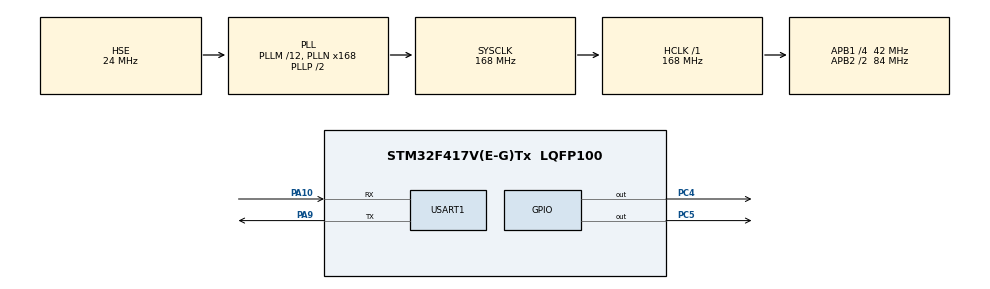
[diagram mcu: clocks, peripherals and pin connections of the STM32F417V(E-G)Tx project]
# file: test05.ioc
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FREERTOS.Tasks01=defaultTask,0,128,StartDefaultTask,Default,NULL,Dynamic,NULL,NULL;LED1Task,-3,128,StartLED1Task,As weak,NULL,Dynamic,NULL,NULL;LED2Task,-3,128,StartLED2Task,As weak,NULL,Dynamic,NULL,NULL
FREERTOS.configUSE_NEWLIB_REENTRANT=1
Mcu.Family=STM32F4
Mcu.Name=STM32F417V(E-G)Tx
Mcu.Package=LQFP100
NVIC.PriorityGroup=NVIC_PRIORITYGROUP_4
NVIC.TIM1_UP_TIM10_IRQn=true\:3\:0\:false\:false\:true\:false\:false\:true\:true
NVIC.TimeBase=TIM1_UP_TIM10_IRQn
NVIC.TimeBaseIP=TIM1
NVIC.USART1_IRQn=true\:5\:0\:true\:false\:true\:true\:true\:true\:true
PA10.GPIO_ModeDefaultPP=GPIO_MODE_AF_PP
PA10.GPIO_PuPd=GPIO_PULLUP
PA10.GPIO_Speed=GPIO_SPEED_FREQ_HIGH
PA10.Mode=Asynchronous
PA10.Signal=USART1_RX
PA13.Mode=Trace_Synchro_2bits_JTAG
PA13.Signal=SYS_JTMS-SWDIO
PA14.Mode=Trace_Synchro_2bits_JTAG
PA14.Signal=SYS_JTCK-SWCLK
PA15.Mode=Trace_Synchro_2bits_JTAG
PA15.Signal=SYS_JTDI
PA9.GPIO_ModeDefaultPP=GPIO_MODE_AF_PP
PA9.GPIO_PuPd=GPIO_PULLUP
PA9.GPIO_Speed=GPIO_SPEED_FREQ_HIGH
PA9.Mode=Asynchronous
PA9.Signal=USART1_TX
PB3.Mode=Trace_Synchro_2bits_JTAG
PB3.Signal=SYS_JTDO-SWO
PC14-OSC32_IN.Mode=LSE-External-Oscillator
PC14-OSC32_IN.Signal=RCC_OSC32_IN
PC15-OSC32_OUT.Mode=LSE-External-Oscillator
PC15-OSC32_OUT.Signal=RCC_OSC32_OUT
PC4.GPIO_ModeDefaultOutputPP=GPIO_MODE_OUTPUT_PP
PC4.GPIO_PuPd=GPIO_PULLUP
PC4.GPIO_Speed=GPIO_SPEED_FREQ_HIGH
PC4.PinState=GPIO_PIN_SET
PC4.Signal=GPIO_Output
PC5.GPIO_ModeDefaultOutputPP=GPIO_MODE_OUTPUT_PP
PC5.GPIO_PuPd=GPIO_PULLUP
PC5.GPIO_Speed=GPIO_SPEED_FREQ_HIGH
PC5.PinState=GPIO_PIN_SET
PC5.Signal=GPIO_Output
PE2.Mode=Trace_Synchro_2bits_JTAG
PE2.Signal=SYS_TRACECLK
PE3.Mode=Trace_Synchro_2bits_JTAG
PE3.Signal=SYS_TRACED0
PE4.Mode=Trace_Synchro_2bits_JTAG
PE4.Signal=SYS_TRACED1
PH0-OSC_IN.Mode=HSE-External-Oscillator
PH0-OSC_IN.Signal=RCC_OSC_IN
PH1-OSC_OUT.Mode=HSE-External-Oscillator
PH1-OSC_OUT.Signal=RCC_OSC_OUT
ProjectManager.HeapSize=0x200
ProjectManager.StackSize=0x400
ProjectManager.TargetToolchain=STM32CubeIDE
RCC.48MHZClocksFreq_Value=84000000
RCC.AHBFreq_Value=168000000
RCC.APB1CLKDivider=RCC_HCLK_DIV4
RCC.APB1Freq_Value=42000000
RCC.APB1TimFreq_Value=84000000
RCC.APB2CLKDivider=RCC_HCLK_DIV2
RCC.APB2Freq_Value=84000000
RCC.APB2TimFreq_Value=168000000
RCC.CortexFreq_Value=168000000
RCC.HCLKFreq_Value=168000000
RCC.HSE_VALUE=24000000
RCC.HSI_VALUE=16000000
RCC.PLLM=12
RCC.PLLN=168
RCC.PLLSourceVirtual=RCC_PLLSOURCE_HSE
RCC.SYSCLKFreq_VALUE=168000000
RCC.SYSCLKSource=RCC_SYSCLKSOURCE_PLLCLK
RCC.VCOOutputFreq_Value=336000000
USART1.VirtualMode=VM_ASYNC
VP_FREERTOS_VS_CMSIS_V1.Mode=CMSIS_V1
VP_SYS_VS_tim1.Mode=TIM1
board=custom

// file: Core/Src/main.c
/* USER CODE BEGIN Header */
/**
  ******************************************************************************
  * @file           : main.c
  * @brief          : Main program body
  ******************************************************************************
  * @attention
  *
  * Copyright (c) 2022 STMicroelectronics.
  * All rights reserved.
  *
  * This software is licensed under terms that can be found in the LICENSE file
  * in the root directory of this software component.
  * If no LICENSE file comes with this software, it is provided AS-IS.
  *
  ******************************************************************************
  */
/* USER CODE END Header */
#include "main.h"
#include "cmsis_os.h"

/* USER CODE BEGIN Includes */
#include "stdio.h"	//引入标准库文件
/* USER CODE END Includes */

UART_HandleTypeDef huart1;

osThreadId defaultTaskHandle;
osThreadId LED1TaskHandle;
osThreadId LED2TaskHandle;

void SystemClock_Config(void);
static void MX_GPIO_Init(void);
static void MX_USART1_UART_Init(void);
void StartDefaultTask(void const * argument);
void StartLED1Task(void const * argument);
void StartLED2Task(void const * argument);

/* USER CODE BEGIN PFP */
#ifdef __GNUC__
#define PUTCHAR_PROTOTYPE int __io_putchar(int ch)   //STM32CubeIDE
#else

#define PUTCHAR_PROTOTYPE int fputc(int ch, FILE *f)  //Keil

#endif
PUTCHAR_PROTOTYPE
{
	HAL_UART_Transmit(&huart1, (uint8_t*)&ch, 1, HAL_MAX_DELAY);
	return ch;
}

int _write(int file, char *ptr, int len)
{
	int DataIdx;

	for(DataIdx=0; DataIdx<len; DataIdx++)
	{
		__io_putchar(*ptr++);
	}

	return len;
}
/* USER CODE END PFP */

int main(void)
{

  /* MCU Configuration--------------------------------------------------------*/

  /* Reset of all peripherals, Initializes the Flash interface and the Systick. */
  HAL_Init();

  /* Configure the system clock */
  SystemClock_Config();

  /* Initialize all configured peripherals */
  MX_GPIO_Init();
  MX_USART1_UART_Init();
  /* USER CODE BEGIN 2 */
  HAL_GPIO_WritePin(GPIOC, GPIO_PIN_4, GPIO_PIN_RESET);
  HAL_GPIO_WritePin(GPIOC, GPIO_PIN_5, GPIO_PIN_RESET);//两灯初始化均熄灭
  /* USER CODE END 2 */

  /* Create the thread(s) */
  /* definition and creation of defaultTask */
  osThreadDef(defaultTask, StartDefaultTask, osPriorityNormal, 0, 128);
  defaultTaskHandle = osThreadCreate(osThread(defaultTask), NULL);

  /* definition and creation of LED1Task */
  osThreadDef(LED1Task, StartLED1Task, osPriorityIdle, 0, 128);
  LED1TaskHandle = osThreadCreate(osThread(LED1Task), NULL);

  /* definition and creation of LED2Task */
  osThreadDef(LED2Task, StartLED2Task, osPriorityIdle, 0, 128);
  LED2TaskHandle = osThreadCreate(osThread(LED2Task), NULL);

  /* Start scheduler */
  osKernelStart();

  /* We should never get here as control is now taken by the scheduler */
  /* Infinite loop */
  while (1)
  {

  }
}

void SystemClock_Config(void)
{
  RCC_OscInitTypeDef RCC_OscInitStruct = {0};
  RCC_ClkInitTypeDef RCC_ClkInitStruct = {0};

  /** Configure the main internal regulator output voltage
  */
  __HAL_RCC_PWR_CLK_ENABLE();
  __HAL_PWR_VOLTAGESCALING_CONFIG(PWR_REGULATOR_VOLTAGE_SCALE1);

  /** Initializes the RCC Oscillators according to the specified parameters
  * in the RCC_OscInitTypeDef structure.
  */
  RCC_OscInitStruct.OscillatorType = RCC_OSCILLATORTYPE_HSE;
  RCC_OscInitStruct.HSEState = RCC_HSE_ON;
  RCC_OscInitStruct.PLL.PLLState = RCC_PLL_ON;
  RCC_OscInitStruct.PLL.PLLSource = RCC_PLLSOURCE_HSE;
  RCC_OscInitStruct.PLL.PLLM = 12;
  RCC_OscInitStruct.PLL.PLLN = 168;
  RCC_OscInitStruct.PLL.PLLP = RCC_PLLP_DIV2;
  RCC_OscInitStruct.PLL.PLLQ = 4;
  if (HAL_RCC_OscConfig(&RCC_OscInitStruct) != HAL_OK)
  {
    Error_Handler();
  }

  /** Initializes the CPU, AHB and APB buses clocks
  */
  RCC_ClkInitStruct.ClockType = RCC_CLOCKTYPE_HCLK|RCC_CLOCKTYPE_SYSCLK
                              |RCC_CLOCKTYPE_PCLK1|RCC_CLOCKTYPE_PCLK2;
  RCC_ClkInitStruct.SYSCLKSource = RCC_SYSCLKSOURCE_PLLCLK;
  RCC_ClkInitStruct.AHBCLKDivider = RCC_SYSCLK_DIV1;
  RCC_ClkInitStruct.APB1CLKDivider = RCC_HCLK_DIV4;
  RCC_ClkInitStruct.APB2CLKDivider = RCC_HCLK_DIV2;

  if (HAL_RCC_ClockConfig(&RCC_ClkInitStruct, FLASH_LATENCY_5) != HAL_OK)
  {
    Error_Handler();
  }
}

static void MX_USART1_UART_Init(void)
{

  huart1.Instance = USART1;
  huart1.Init.BaudRate = 115200;
  huart1.Init.WordLength = UART_WORDLENGTH_8B;
  huart1.Init.StopBits = UART_STOPBITS_1;
  huart1.Init.Parity = UART_PARITY_NONE;
  huart1.Init.Mode = UART_MODE_TX_RX;
  huart1.Init.HwFlowCtl = UART_HWCONTROL_NONE;
  huart1.Init.OverSampling = UART_OVERSAMPLING_16;
  if (HAL_UART_Init(&huart1) != HAL_OK)
  {
    Error_Handler();
  }

}

static void MX_GPIO_Init(void)
{
  GPIO_InitTypeDef GPIO_InitStruct = {0};

  /* GPIO Ports Clock Enable */
  __HAL_RCC_GPIOE_CLK_ENABLE();
  __HAL_RCC_GPIOC_CLK_ENABLE();
  __HAL_RCC_GPIOH_CLK_ENABLE();
  __HAL_RCC_GPIOA_CLK_ENABLE();
  __HAL_RCC_GPIOB_CLK_ENABLE();

  /*Configure GPIO pin Output Level */
  HAL_GPIO_WritePin(GPIOC, GPIO_PIN_4|GPIO_PIN_5, GPIO_PIN_SET);

  /*Configure GPIO pins : PC4 PC5 */
  GPIO_InitStruct.Pin = GPIO_PIN_4|GPIO_PIN_5;
  GPIO_InitStruct.Mode = GPIO_MODE_OUTPUT_PP;
  GPIO_InitStruct.Pull = GPIO_PULLUP;
  GPIO_InitStruct.Speed = GPIO_SPEED_FREQ_HIGH;
  HAL_GPIO_Init(GPIOC, &GPIO_InitStruct);

}

void StartDefaultTask(void const * argument)
{
  /* USER CODE BEGIN 5 */
  uint8_t a=0;
  /* Infinite loop */
  for(;;)
  {
	  if(a==5)
	  {
		  printf("挂起LED1任务\r\n");
		  osThreadSuspend(LED1TaskHandle);
	  }
	  else if(a==10)
	  {
		  a=0;
		  printf("恢复LED1任务\r\n");
		  osThreadResume(LED1TaskHandle);
	  }
	  a++;
	  osDelay(500);
  }
  /* USER CODE END 5 */
}

__weak void StartLED1Task(void const * argument)
{
  /* USER CODE BEGIN StartLED1Task */
  /* Infinite loop */
  for(;;)
  {
	printf("红灯亮\r\n");
	HAL_GPIO_WritePin(GPIOC, GPIO_PIN_5, GPIO_PIN_RESET);	//关LED灯2
	HAL_GPIO_WritePin(GPIOC, GPIO_PIN_4, GPIO_PIN_SET);		//开LED灯1
    osDelay(500);
  }
  /* USER CODE END StartLED1Task */
}

__weak void StartLED2Task(void const * argument)
{
  /* USER CODE BEGIN StartLED2Task */
  /* Infinite loop */
  for(;;)
  {
	printf("黄灯亮\r\n");
	HAL_GPIO_WritePin(GPIOC, GPIO_PIN_4, GPIO_PIN_RESET);	//关LED灯1
	HAL_GPIO_WritePin(GPIOC, GPIO_PIN_5, GPIO_PIN_SET);		//开LED灯2
    osDelay(500);
  }
  /* USER CODE END StartLED2Task */
}

void HAL_TIM_PeriodElapsedCallback(TIM_HandleTypeDef *htim)
{
  if (htim->Instance == TIM1) {
    HAL_IncTick();
  }
}

void Error_Handler(void)
{
  __disable_irq();
  while (1)
  {
  }
}
